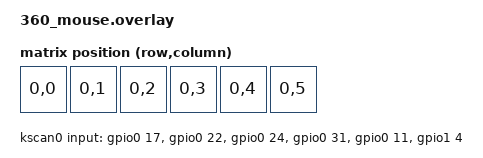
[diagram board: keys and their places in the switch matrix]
#include <zephyr/dt-bindings/input/input-event-codes.h>

&pinctrl {
    spi1_default: spi1_default {
        group1 {
            psels = <NRF_PSEL(SPIM_SCK, 1, 13)>,
                <NRF_PSEL(SPIM_MOSI, 0, 10)>,
                <NRF_PSEL(SPIM_MISO, 1, 11)>;
        };
    };

    spi1_sleep: spi1_sleep {
        group1 {
            psels = <NRF_PSEL(SPIM_SCK, 1, 13)>,
                <NRF_PSEL(SPIM_MOSI, 0, 10)>,
                <NRF_PSEL(SPIM_MISO, 1, 11)>;
            low-power-enable;
        };
    };
};

&spi1 {
    status = "okay";
    compatible = "nordic,nrf-spim";
    pinctrl-0 = <&spi1_default>;
    pinctrl-1 = <&spi1_sleep>;
    pinctrl-names = "default", "sleep";
    cs-gpios = <&gpio0 20 GPIO_ACTIVE_LOW>;

    trackball: trackball@0 {
        status = "okay";
        compatible = "pixart,pmw3610-alt";
        reg = <0>;
        spi-max-frequency = <250000>;
        irq-gpios = <&gpio0 8 (GPIO_ACTIVE_LOW | GPIO_PULL_UP)>;
        cpi = <600>;
        evt-type = <INPUT_EV_REL>;
        x-input-code = <INPUT_REL_Y>;
        y-input-code = <INPUT_REL_X>;
    };
};

/ {
    trackball_listener {
        compatible = "zmk,input-listener";
        device = <&trackball>;
    };
};

#include <dt-bindings/zmk/matrix_transform.h>
#include <physical_layouts.dtsi>

/ {
    chosen {
        zmk,kscan = &kscan0;
        zmk,matrix_transform = &default_transform;
        zmk,physical-layout = &default_layout;
    };

    kscan0: kscan {
        compatible = "zmk,kscan-gpio-direct";
        debounce-press-ms = <5>;
        debounce-release-ms = <5>;
        input-gpios =
            <&gpio0 17 (GPIO_ACTIVE_LOW | GPIO_PULL_UP)>,  /* pos 0: left   - P0.17 */
            <&gpio0 22 (GPIO_ACTIVE_LOW | GPIO_PULL_UP)>,  /* pos 1: middle - P0.22 */
            <&gpio0 24 (GPIO_ACTIVE_LOW | GPIO_PULL_UP)>,  /* pos 2: right  - P0.24 */
            <&gpio0 31 (GPIO_ACTIVE_LOW | GPIO_PULL_UP)>,  /* pos 3: MB4    - P0.31 */
            <&gpio0 11 (GPIO_ACTIVE_LOW | GPIO_PULL_UP)>,  /* pos 4: MB5    - P0.11 */
            <&gpio1 4  (GPIO_ACTIVE_LOW | GPIO_PULL_UP)>;  /* pos 5: space  - P1.04 */
    };

    default_transform: keymap_transform_0 {
        compatible = "zmk,matrix-transform";
        columns = <6>;
        rows = <1>;
        map = <RC(0,0) RC(0,1) RC(0,2) RC(0,3) RC(0,4) RC(0,5)>;
    };

    default_layout: default_layout {
        compatible = "zmk,physical-layout";
        display-name = "360 Mouse";
        transform = <&default_transform>;
        keys  //                     w    h    x    y   rot   rx   ry
            = <&key_physical_attrs 100  100    0    0     0    0    0>
            , <&key_physical_attrs 100  100  100    0     0    0    0>
            , <&key_physical_attrs 100  100  200    0     0    0    0>
            , <&key_physical_attrs 100  100  300    0     0    0    0>
            , <&key_physical_attrs 100  100  400    0     0    0    0>
            , <&key_physical_attrs 100  100  500    0     0    0    0>;
    };
};

&adc {
    status = "okay";
};

/ {
    anin0: analog_input_0 {
        compatible = "zmk,analog-input";
        sampling-hz = <100>;
        x-ch {
            io-channels = <&adc 0>;
            mv-mid = <1566>;
            mv-min-max = <1550>;
            mv-deadzone = <40>;
            scale-multiplier = <1>;
            scale-divisor = <4000>;
            input-code = <INPUT_REL_HWHEEL>;   /* x-ch */
            evt-type = <INPUT_EV_REL>;
        };
        y-ch {
            io-channels = <&adc 5>;
            mv-mid = <1629>;
            mv-min-max = <1600>;
            mv-deadzone = <40>;
            scale-multiplier = <1>;
            scale-divisor = <4000>;
            input-code = <INPUT_REL_WHEEL>;    /* y-ch */
            evt-type = <INPUT_EV_REL>;
        };
    };

    anin0_listener: anin0_listener {
        compatible = "zmk,input-listener";
        device = <&anin0>;
    };
};
